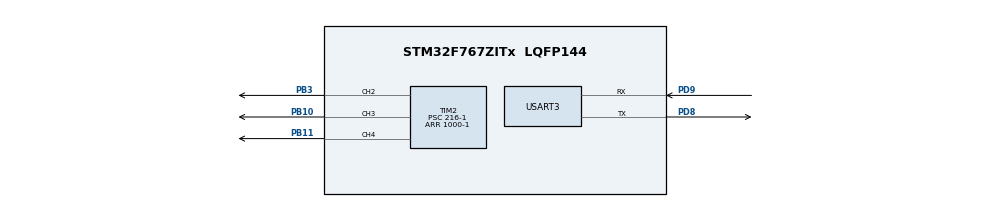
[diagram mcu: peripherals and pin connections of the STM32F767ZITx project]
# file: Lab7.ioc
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Mcu.Family=STM32F7
Mcu.Name=STM32F767ZITx
Mcu.Package=LQFP144
NVIC.PriorityGroup=NVIC_PRIORITYGROUP_4
PB10.GPIO_Speed=GPIO_SPEED_FREQ_VERY_HIGH
PB10.Signal=S_TIM2_CH3
PB11.Signal=S_TIM2_CH4
PB3.Signal=S_TIM2_CH2
PD8.Mode=Asynchronous
PD8.Signal=USART3_TX
PD9.Mode=Asynchronous
PD9.Signal=USART3_RX
ProjectManager.HeapSize=0x200
ProjectManager.StackSize=0x400
ProjectManager.TargetToolchain=STM32CubeIDE
RCC.HSE_VALUE=25000000
RCC.HSI_VALUE=16000000
RCC.LSE_VALUE=32768
RCC.USBFreq_Value=96000000
RCC.VCOOutputFreq_Value=192000000
SH.S_TIM2_CH2.0=TIM2_CH2,PWM Generation2 CH2
SH.S_TIM2_CH3.0=TIM2_CH3,PWM Generation3 CH3
SH.S_TIM2_CH4.0=TIM2_CH4,PWM Generation4 CH4
TIM2.Channel-PWM\ Generation2\ CH2=TIM_CHANNEL_2
TIM2.Channel-PWM\ Generation3\ CH3=TIM_CHANNEL_3
TIM2.Channel-PWM\ Generation4\ CH4=TIM_CHANNEL_4
TIM2.Period=1000-1
TIM2.Prescaler=216-1
TIM2.Pulse-PWM\ Generation3\ CH3=10000/4 -1
USART3.VirtualMode-Asynchronous=VM_ASYNC
VP_TIM2_VS_ClockSourceINT.Mode=Internal
board=custom

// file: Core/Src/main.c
/* USER CODE BEGIN Header */
/**
 ******************************************************************************
 * @file           : main.c
 * @brief          : Main program body
 ******************************************************************************
 * @attention
 *
 * Copyright (c) 2023 STMicroelectronics.
 * All rights reserved.
 *
 * This software is licensed under terms that can be found in the LICENSE file
 * in the root directory of this software component.
 * If no LICENSE file comes with this software, it is provided AS-IS.
 *
 ******************************************************************************
 */
/* USER CODE END Header */
#include "main.h"
#include "tim.h"
#include "usart.h"
#include "gpio.h"

/* USER CODE BEGIN PV */
uint8_t pwm;
float duty_cycle = 0.0;
float duty_cycle1 = 0.0;
float duty_cycle2 = 0.0;
char bucket[8];
char ch1 = 'A';
char Kidpass[] = "64010591\r\n\n";
char Kidname[] = "Pitpibul Phongphotjanatham\r\n\n";
char ninpass[] = "64010454\r\n\n";
char ninname[] = "Bantita WongWan\r\n\n";
char Patpass[] = "64010400\r\n\n";
char Patname[] = "Nonthaphat Jitchiranant\r\n\n";
char ch2[] ="Input : ";
char ch3[] = "Unknown Command\r\n";
char ch4[] ="\r\n";
char quit[] ="Quit\r\n";
char c;
/* USER CODE END PV */

void SystemClock_Config(void);

int main(void)
{

  /* MCU Configuration--------------------------------------------------------*/

  /* Reset of all peripherals, Initializes the Flash interface and the Systick. */
  HAL_Init();

  /* Configure the system clock */
  SystemClock_Config();

  /* Initialize all configured peripherals */
  MX_GPIO_Init();
  MX_TIM2_Init();
  MX_USART3_UART_Init();

  /* Infinite loop */
  /* USER CODE BEGIN WHILE */
	while (1) {
		htim2.Instance->CCR3 = (10000 - 1) * duty_cycle;
		htim2.Instance->CCR2 = (10000 - 1) * duty_cycle1;
		htim2.Instance->CCR4 = (10000 - 1) * duty_cycle2;
		HAL_TIM_PWM_Start(&htim2, TIM_CHANNEL_3);
		HAL_TIM_PWM_Start(&htim2, TIM_CHANNEL_2);
		HAL_TIM_PWM_Start(&htim2, TIM_CHANNEL_4);

		pwm = (GPIOB->IDR & GPIO_PIN_10) >> 10;

		while (__HAL_UART_GET_FLAG(&huart3, UART_FLAG_TC) == RESET) {
					}
					HAL_UART_Transmit(&huart3, (uint8_t*) &ch2, strlen(ch2), 1000);

					while (__HAL_UART_GET_FLAG(&huart3, UART_FLAG_RXNE) == RESET) {}
					HAL_UART_Receive(&huart3, (uint8_t*) &c, 1, 1000);
					HAL_Delay(10);

					HAL_UART_Transmit(&huart3, (uint8_t*) &c, 1, 1000);
					HAL_UART_Transmit(&huart3, (uint8_t*) &ch4, strlen(ch4), 1000);

					while (__HAL_UART_GET_FLAG(&huart3, UART_FLAG_RXNE) == SET) {}

//		while (__HAL_UART_GET_FLAG(&huart3, UART_FLAG_RXNE) == RESET) {}
//		HAL_UART_Receive(&huart3, bucket, strlen(bucket), 1000);
//		HAL_Delay(200);
//
//
//
//		while (__HAL_UART_GET_FLAG(&huart3, UART_FLAG_RXNE) == SET) {}
//		HAL_UART_Transmit(&huart3, bucket, strlen(bucket), 1000);
//		HAL_Delay(500);
		switch (c)
		{
			case 'r':
				if (duty_cycle1 < 1) {
								duty_cycle1 += 0.2;
							} else {
								duty_cycle1 = 0.0;
							}
				break;

			case 'b':
				if (duty_cycle2 < 1) {
								duty_cycle2 += 0.2;
							} else {
								duty_cycle2 = 0.0;
							}
				break;

			case 'g':
				if (duty_cycle < 1) {
								duty_cycle += 0.2;
							} else {
								duty_cycle = 0.0;
							}
				break;

		}

    /* USER CODE END WHILE */

	}
}

void SystemClock_Config(void)
{
  RCC_OscInitTypeDef RCC_OscInitStruct = {0};
  RCC_ClkInitTypeDef RCC_ClkInitStruct = {0};

  /** Configure the main internal regulator output voltage
  */
  __HAL_RCC_PWR_CLK_ENABLE();
  __HAL_PWR_VOLTAGESCALING_CONFIG(PWR_REGULATOR_VOLTAGE_SCALE3);

  /** Initializes the RCC Oscillators according to the specified parameters
  * in the RCC_OscInitTypeDef structure.
  */
  RCC_OscInitStruct.OscillatorType = RCC_OSCILLATORTYPE_HSI;
  RCC_OscInitStruct.HSIState = RCC_HSI_ON;
  RCC_OscInitStruct.HSICalibrationValue = RCC_HSICALIBRATION_DEFAULT;
  RCC_OscInitStruct.PLL.PLLState = RCC_PLL_NONE;
  if (HAL_RCC_OscConfig(&RCC_OscInitStruct) != HAL_OK)
  {
    Error_Handler();
  }

  /** Initializes the CPU, AHB and APB buses clocks
  */
  RCC_ClkInitStruct.ClockType = RCC_CLOCKTYPE_HCLK|RCC_CLOCKTYPE_SYSCLK
                              |RCC_CLOCKTYPE_PCLK1|RCC_CLOCKTYPE_PCLK2;
  RCC_ClkInitStruct.SYSCLKSource = RCC_SYSCLKSOURCE_HSI;
  RCC_ClkInitStruct.AHBCLKDivider = RCC_SYSCLK_DIV1;
  RCC_ClkInitStruct.APB1CLKDivider = RCC_HCLK_DIV1;
  RCC_ClkInitStruct.APB2CLKDivider = RCC_HCLK_DIV1;

  if (HAL_RCC_ClockConfig(&RCC_ClkInitStruct, FLASH_LATENCY_0) != HAL_OK)
  {
    Error_Handler();
  }
}

void Error_Handler(void)
{
	__disable_irq();
	while (1) {
	}
}
